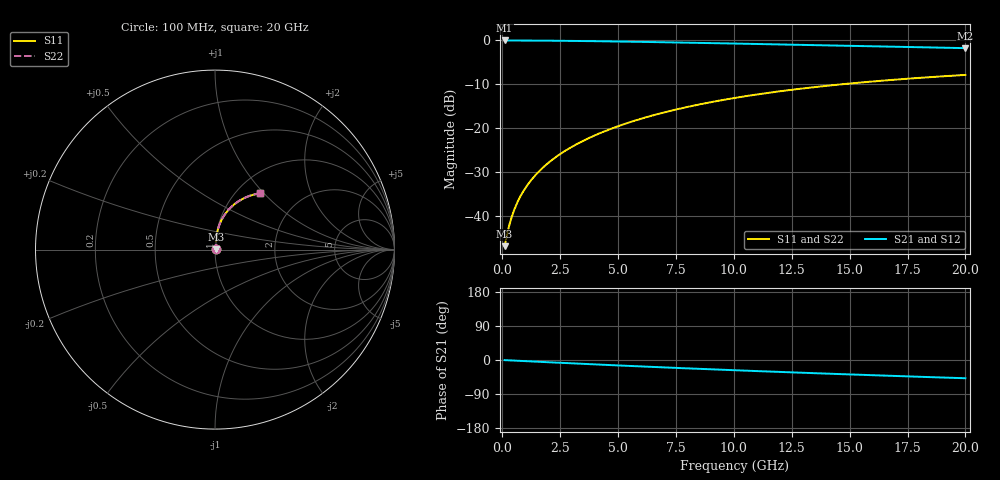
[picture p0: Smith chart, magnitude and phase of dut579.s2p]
! Touchstone file exported from HFSS 2024.1.0
!  File:  C:/UserFiles/LocalFiles/RDL_TSV_Batchsim/temp_RDL_bottom_579_1779690559.aedt
!  Generated:  02:31:51 PM May 25, 2026
!  Design:  RDL_bottom
!  Project:  temp_RDL_bottom_579_1779690559
!  Setup:  Setup1
!  Solution:  Sweep
! Variables:
!  dtsv = 10.80580581um
!  hbump = 3um
!  htsv = 62.37um
!  ldown = 694.24um
!  lrdl = 100um
!  p = 40
!  p1 = 51.51um
!  rhole = 1um
!  t = 450um
!  tdown = 2.82um
!  trdl = 3.915915916um
!  wdown = 23.92um
!  wrdl = 20um
# GHz S MA R 50.000000
! Terminal data exported
! Port[1] = RDL1_T1
! Port[2] = RDL1_T2
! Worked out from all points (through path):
!   200 points, 100 MHz to 20 GHz, reference 50 ohm
!   highest |S21| = -0.03 dB at 100 MHz (marker M1); lowest = -1.8 dB at 20 GHz (marker M2)
!   group delay of S21, straight-line fit = 6.63 ps
!   lowest |S11| = -47.0 dB at 100 MHz (marker M3), VSWR 1.01, Z = 50.4 + j0.226 ohm
!   |S11| at or under -10 dB: start of sweep to 14.72 GHz
!   |S22| runs from -47.0 to -7.9 dB; largest |S21 - S12| = 1.4e-14
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0.1  0.004491 29.9  0.9961 -0.3  0.9961 -0.3  0.004491 29.9
! Gamma 0 0 0 0
! Port Impedance 50 0 50 0
0.2  0.00599 47.3  0.9959 -0.6  0.9959 -0.6  0.00599 47.3
0.3  0.007751 56.6  0.9956 -0.9  0.9956 -0.9  0.007751 56.6
0.4  0.009569 62.3  0.9954 -1.2  0.9954 -1.2  0.009569 62.3
0.5  0.0114 66.1  0.9951 -1.5  0.9951 -1.5  0.0114 66.1
0.6  0.01323 69.0  0.9949 -1.8  0.9949 -1.8  0.01323 69.0
0.8  0.01694 73.0  0.9944 -2.4  0.9944 -2.4  0.01694 73.0
1.1  0.02261 76.8  0.9936 -3.3  0.9936 -3.3  0.02261 76.8
1.3  0.02645 78.5  0.9929 -3.9  0.9929 -3.9  0.02645 78.5
1.6  0.03231 80.2  0.9919 -4.8  0.9919 -4.8  0.03231 80.2
2.1  0.04229 82.0  0.9897 -6.2  0.9897 -6.2  0.04229 82.0
2.7  0.0546 83.0  0.9865 -8.0  0.9865 -8.0  0.05461 83.0
3.5  0.07156 83.3  0.9812 -10.2  0.9812 -10.2  0.07157 83.4
4.2  0.08685 83.1  0.9759 -12.2  0.9759 -12.2  0.08687 83.1
5  0.1048 82.3  0.9691 -14.4  0.9691 -14.4  0.1048 82.3
6.8  0.1462 79.5  0.9521 -19.1  0.9521 -19.1  0.1462 79.5
8.4  0.1831 76.3  0.9357 -23.1  0.9357 -23.1  0.1832 76.3
10.1  0.2215 72.5  0.9177 -27.2  0.9177 -27.2  0.2217 72.5
11.7  0.2562 68.9  0.9005 -30.9  0.9005 -30.9  0.2563 68.9
13.4  0.2909 65.0  0.8823 -34.6  0.8823 -34.6  0.2911 65.0
16.7  0.3515 57.8  0.8475 -41.6  0.8475 -41.6  0.3518 57.8
20  0.4029 51.1  0.8141 -48.1  0.8141 -48.1  0.4032 51.1
